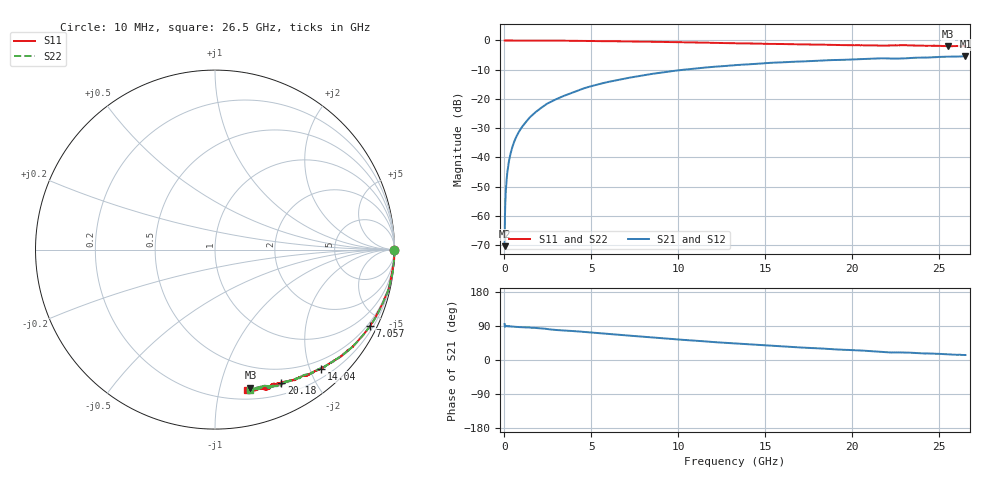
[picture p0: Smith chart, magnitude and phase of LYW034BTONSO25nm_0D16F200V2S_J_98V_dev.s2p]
!Keysight Technologies,N5222B,MY61253708,A.15.00.15
!Date: Wednesday, June 19, 2024 09:36:08
!Correction: S11(C  2-Port  )
!S21(C  2-Port  )
!S12(C  2-Port  )
!S22(C  2-Port  )
!S2P File: Measurements: S11, S21, S12, S22:
# Hz S  RI  R 50
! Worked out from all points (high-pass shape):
!   2651 points, 10 MHz to 26.5 GHz, reference 50 ohm
!   highest |S21| = -5.38 dB at 26.5 GHz (marker M1); lowest = -70.3 dB at 10 MHz (marker M2)
!   |S21| within 3 dB of the highest: 13.44 GHz to end of sweep
!   lowest |S11| = -2.0 dB at 25.5 GHz (marker M3), VSWR 8.74, Z = 14.9 - j62.2 ohm
!   |S11| at or under -10 dB: nowhere
!   |S22| runs from -1.9 to 0.0 dB; largest |S21 - S12| = 0.0066
!   S11 on the Smith chart (normalised r, x): 10 MHz: open; 7.057 GHz: 0.37, -4.29; 14.04 GHz: 0.34, -2.19; 20.18 GHz: 0.33, -1.57; 26.5 GHz: 0.27, -1.22
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1e7  0.9988 -0.00268  -2.65e-05 0.000304  -0.000198 1.02e-05  0.9991 -0.00113
7.997358e7  0.9998 -0.00581  1.76e-05 0.00268  -4.9e-07 0.00267  0.9994 -0.00524
1.499472e8  0.9999 -0.011  4.31e-05 0.00501  3.66e-05 0.00503  0.9995 -0.0102
1.899321e8  1 -0.0129  6.02e-05 0.00631  7.16e-05 0.00638  0.9998 -0.012
2.399132e8  0.9994 -0.0167  0.000138 0.00798  0.00013 0.00804  0.9992 -0.0158
3.398755e8  0.9993 -0.0232  0.000303 0.0113  0.000272 0.0114  0.9994 -0.0221
4.598302e8  0.9989 -0.0314  0.000437 0.0152  0.000466 0.0154  0.9987 -0.0305
6.097736e8  0.9989 -0.0411  0.000792 0.0202  0.000838 0.0204  0.9988 -0.0404
7.997019e8  0.9981 -0.054  0.00137 0.0264  0.0014 0.0266  0.9975 -0.0527
1.429464e9  0.9903 -0.0971  0.00328 0.0472  0.00344 0.0475  0.9933 -0.0932
2.319128e9  0.9817 -0.1518  0.00986 0.0776  0.0101 0.0781  0.9832 -0.1517
3.148815e9  0.9705 -0.205  0.0205 0.1025  0.0208 0.1033  0.9721 -0.2031
4.428332e9  0.9418 -0.2818  0.0387 0.142  0.0392 0.143  0.9441 -0.2779
7.05734e9  0.8652 -0.4231  0.0972 0.2053  0.099 0.2062  0.868 -0.4198
8.846664e9  0.8007 -0.5038  0.1459 0.2371  0.1476 0.2379  0.8038 -0.5006
1.3255e10  0.6237 -0.6432  0.2735 0.2609  0.2761 0.2606  0.6298 -0.6404
1.40447e10  0.5922 -0.6637  0.2946 0.2586  0.2965 0.2581  0.5987 -0.6559
1.767333e10  0.451 -0.7212  0.3796 0.2326  0.3833 0.2308  0.4646 -0.718
2.018238e10  0.3701 -0.7439  0.4276 0.2061  0.4307 0.2029  0.3866 -0.7418
2.209166e10  0.3161 -0.7528  0.462 0.1703  0.464 0.1672  0.3134 -0.7593
2.550038e10  0.1974 -0.7698  0.5108 0.1336  0.5124 0.1329  0.2209 -0.7737
2.65e10  0.1782 -0.7841  0.5243 0.1225  0.5238 0.1183  0.1943 -0.7834
